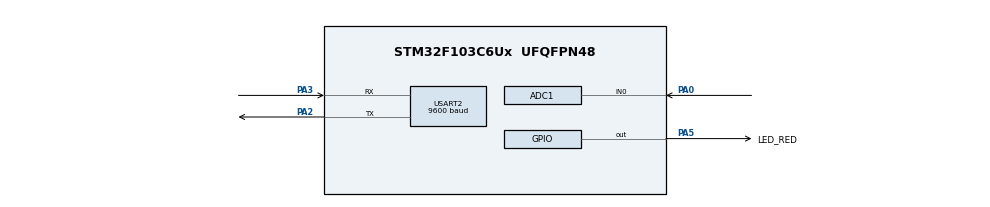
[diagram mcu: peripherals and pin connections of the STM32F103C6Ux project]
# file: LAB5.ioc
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ADC1.Channel-0\#ChannelRegularConversion=ADC_CHANNEL_0
ADC1.ContinuousConvMode=ENABLE
ADC1.NbrOfConversionFlag=1
ADC1.Rank-0\#ChannelRegularConversion=1
ADC1.SamplingTime-0\#ChannelRegularConversion=ADC_SAMPLETIME_1CYCLE_5
ADC1.master=1
Mcu.Family=STM32F1
Mcu.Name=STM32F103C6Ux
Mcu.Package=UFQFPN48
NVIC.PriorityGroup=NVIC_PRIORITYGROUP_4
NVIC.TIM2_IRQn=true\:0\:0\:false\:false\:true\:true\:true
NVIC.USART2_IRQn=true\:0\:0\:false\:false\:true\:true\:true
PA0-WKUP.Signal=ADCx_IN0
PA2.Mode=Asynchronous
PA2.Signal=USART2_TX
PA3.Mode=Asynchronous
PA3.Signal=USART2_RX
PA5.GPIO_Label=LED_RED
PA5.Signal=GPIO_Output
ProjectManager.HeapSize=0x200
ProjectManager.StackSize=0x400
ProjectManager.TargetToolchain=STM32CubeIDE
RCC.APB1Freq_Value=8000000
RCC.APB2Freq_Value=8000000
SH.ADCx_IN0.0=ADC1_IN0,IN0
TIM2.Period=9
TIM2.Prescaler=7999
USART2.BaudRate=9600
USART2.VirtualMode=VM_ASYNC
VP_SYS_VS_ND.Mode=No_Debug
VP_TIM2_VS_ClockSourceINT.Mode=Internal
board=custom

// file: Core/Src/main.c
/* USER CODE BEGIN Header */
/**
  ******************************************************************************
  * @file           : main.c
  * @brief          : Main program body
  ******************************************************************************
  * @attention
  *
  * <h2><center>&copy; Copyright (c) 2023 STMicroelectronics.
  * All rights reserved.</center></h2>
  *
  * This software component is licensed by ST under BSD 3-Clause license,
  * the "License"; You may not use this file except in compliance with the
  * License. You may obtain a copy of the License at:
  *                        opensource.org/licenses/BSD-3-Clause
  *
  ******************************************************************************
  */
/* USER CODE END Header */
#include "main.h"
#include "fsm.h"
#include "scheduler.h"

ADC_HandleTypeDef hadc1;

TIM_HandleTypeDef htim2;

UART_HandleTypeDef huart2;

void SystemClock_Config(void);
static void MX_GPIO_Init(void);
static void MX_TIM2_Init(void);
static void MX_ADC1_Init(void);
static void MX_USART2_UART_Init(void);

/* USER CODE BEGIN 0 */
void HAL_UART_RxCpltCallback (UART_HandleTypeDef *huart){
	if(huart -> Instance == USART2){
		HAL_UART_Transmit(&huart2, &temp, 1, 500); //transmit 1 byte in 500ms
		buffer[index_buffer++] = temp; //store and increment the buffer index
		if(index_buffer==MAX_BUFFER_SIZE) index_buffer=0;
		buffer_flag=1; //new data
		//HAL_UART_Transmit(&huart2, &temp, 1, 50); //transmit 1 byte in 50ms
		HAL_UART_Receive_IT(&huart2, &temp, 1);
	}
}
/* USER CODE END 0 */

void callCommandParserfsm(){
		  if(buffer_flag == 1){
			  command_parser_fsm();
			  buffer_flag = 0;
		  }
}
int main(void)
{

  /* MCU Configuration--------------------------------------------------------*/

  /* Reset of all peripherals, Initializes the Flash interface and the Systick. */
  HAL_Init();

  /* Configure the system clock */
  SystemClock_Config();

  /* Initialize all configured peripherals */
  MX_GPIO_Init();
  MX_TIM2_Init();
  MX_ADC1_Init();
  MX_USART2_UART_Init();
  /* USER CODE BEGIN 2 */
  HAL_TIM_Base_Start_IT (&htim2);
  HAL_UART_Receive_IT(&huart2, &temp, 1);
  HAL_ADC_Start(&hadc1);
  setTimer1(100);

  SCH_Init();
  SCH_Add_Task(timerRun,0,1);
  SCH_Add_Task(callCommandParserfsm,0,1);
  SCH_Add_Task(uart_communication_fsm,0,1);
  /* USER CODE END 2 */

  /* Infinite loop */
  /* USER CODE BEGIN WHILE */
  //[Tutorial: Basic sample test] SCH_Add_Task(ledtest, 300, 200);
  while (1)
  {
	  SCH_Dispatch_Tasks();
    /* USER CODE END WHILE */

  }
}

void SystemClock_Config(void)
{
  RCC_OscInitTypeDef RCC_OscInitStruct = {0};
  RCC_ClkInitTypeDef RCC_ClkInitStruct = {0};
  RCC_PeriphCLKInitTypeDef PeriphClkInit = {0};

  /** Initializes the RCC Oscillators according to the specified parameters
  * in the RCC_OscInitTypeDef structure.
  */
  RCC_OscInitStruct.OscillatorType = RCC_OSCILLATORTYPE_HSI;
  RCC_OscInitStruct.HSIState = RCC_HSI_ON;
  RCC_OscInitStruct.HSICalibrationValue = RCC_HSICALIBRATION_DEFAULT;
  RCC_OscInitStruct.PLL.PLLState = RCC_PLL_NONE;
  if (HAL_RCC_OscConfig(&RCC_OscInitStruct) != HAL_OK)
  {
    Error_Handler();
  }
  /** Initializes the CPU, AHB and APB buses clocks
  */
  RCC_ClkInitStruct.ClockType = RCC_CLOCKTYPE_HCLK|RCC_CLOCKTYPE_SYSCLK
                              |RCC_CLOCKTYPE_PCLK1|RCC_CLOCKTYPE_PCLK2;
  RCC_ClkInitStruct.SYSCLKSource = RCC_SYSCLKSOURCE_HSI;
  RCC_ClkInitStruct.AHBCLKDivider = RCC_SYSCLK_DIV1;
  RCC_ClkInitStruct.APB1CLKDivider = RCC_HCLK_DIV1;
  RCC_ClkInitStruct.APB2CLKDivider = RCC_HCLK_DIV1;

  if (HAL_RCC_ClockConfig(&RCC_ClkInitStruct, FLASH_LATENCY_0) != HAL_OK)
  {
    Error_Handler();
  }
  PeriphClkInit.PeriphClockSelection = RCC_PERIPHCLK_ADC;
  PeriphClkInit.AdcClockSelection = RCC_ADCPCLK2_DIV2;
  if (HAL_RCCEx_PeriphCLKConfig(&PeriphClkInit) != HAL_OK)
  {
    Error_Handler();
  }
}

static void MX_ADC1_Init(void)
{

  ADC_ChannelConfTypeDef sConfig = {0};

  /** Common config
  */
  hadc1.Instance = ADC1;
  hadc1.Init.ScanConvMode = ADC_SCAN_DISABLE;
  hadc1.Init.ContinuousConvMode = ENABLE;
  hadc1.Init.DiscontinuousConvMode = DISABLE;
  hadc1.Init.ExternalTrigConv = ADC_SOFTWARE_START;
  hadc1.Init.DataAlign = ADC_DATAALIGN_RIGHT;
  hadc1.Init.NbrOfConversion = 1;
  if (HAL_ADC_Init(&hadc1) != HAL_OK)
  {
    Error_Handler();
  }
  /** Configure Regular Channel
  */
  sConfig.Channel = ADC_CHANNEL_0;
  sConfig.Rank = ADC_REGULAR_RANK_1;
  sConfig.SamplingTime = ADC_SAMPLETIME_1CYCLE_5;
  if (HAL_ADC_ConfigChannel(&hadc1, &sConfig) != HAL_OK)
  {
    Error_Handler();
  }

}

static void MX_TIM2_Init(void)
{

  TIM_ClockConfigTypeDef sClockSourceConfig = {0};
  TIM_MasterConfigTypeDef sMasterConfig = {0};

  htim2.Instance = TIM2;
  htim2.Init.Prescaler = 7999;
  htim2.Init.CounterMode = TIM_COUNTERMODE_UP;
  htim2.Init.Period = 9;
  htim2.Init.ClockDivision = TIM_CLOCKDIVISION_DIV1;
  htim2.Init.AutoReloadPreload = TIM_AUTORELOAD_PRELOAD_DISABLE;
  if (HAL_TIM_Base_Init(&htim2) != HAL_OK)
  {
    Error_Handler();
  }
  sClockSourceConfig.ClockSource = TIM_CLOCKSOURCE_INTERNAL;
  if (HAL_TIM_ConfigClockSource(&htim2, &sClockSourceConfig) != HAL_OK)
  {
    Error_Handler();
  }
  sMasterConfig.MasterOutputTrigger = TIM_TRGO_RESET;
  sMasterConfig.MasterSlaveMode = TIM_MASTERSLAVEMODE_DISABLE;
  if (HAL_TIMEx_MasterConfigSynchronization(&htim2, &sMasterConfig) != HAL_OK)
  {
    Error_Handler();
  }

}

static void MX_USART2_UART_Init(void)
{

  huart2.Instance = USART2;
  huart2.Init.BaudRate = 9600;
  huart2.Init.WordLength = UART_WORDLENGTH_8B;
  huart2.Init.StopBits = UART_STOPBITS_1;
  huart2.Init.Parity = UART_PARITY_NONE;
  huart2.Init.Mode = UART_MODE_TX_RX;
  huart2.Init.HwFlowCtl = UART_HWCONTROL_NONE;
  huart2.Init.OverSampling = UART_OVERSAMPLING_16;
  if (HAL_UART_Init(&huart2) != HAL_OK)
  {
    Error_Handler();
  }

}

static void MX_GPIO_Init(void)
{
  GPIO_InitTypeDef GPIO_InitStruct = {0};

  /* GPIO Ports Clock Enable */
  __HAL_RCC_GPIOA_CLK_ENABLE();

  /*Configure GPIO pin Output Level */
  HAL_GPIO_WritePin(LED_RED_GPIO_Port, LED_RED_Pin, GPIO_PIN_RESET);

  /*Configure GPIO pin : LED_RED_Pin */
  GPIO_InitStruct.Pin = LED_RED_Pin;
  GPIO_InitStruct.Mode = GPIO_MODE_OUTPUT_PP;
  GPIO_InitStruct.Pull = GPIO_NOPULL;
  GPIO_InitStruct.Speed = GPIO_SPEED_FREQ_LOW;
  HAL_GPIO_Init(LED_RED_GPIO_Port, &GPIO_InitStruct);

}

/* USER CODE BEGIN 4 */
void HAL_TIM_PeriodElapsedCallback (TIM_HandleTypeDef *htim){
	SCH_Update();
}
/* USER CODE END 4 */

void Error_Handler(void)
{
  __disable_irq();
  while (1)
  {
  }
}

/************************ (C) COPYRIGHT STMicroelectronics *****END OF FILE****/
